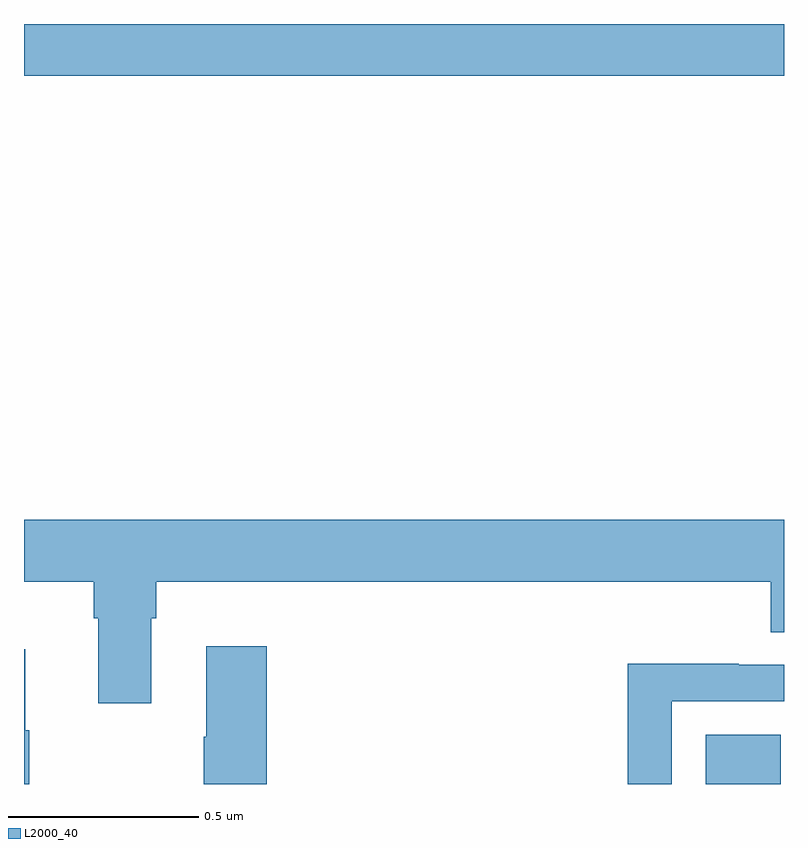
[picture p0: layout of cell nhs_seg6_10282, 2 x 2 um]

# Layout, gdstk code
import gdstk
lib = gdstk.Library(unit=1e-6, precision=1e-09)
def R(c, l, rs):  # rectangles x0, y0, x1, y1
    for r in rs: c.add(gdstk.rectangle(r[:2], r[2:], *l))
def P(c, l, *ps):  # polygons
    for p in ps: c.add(gdstk.Polygon(p, *l))
L2000_40 = (2000, 40)

nhs_seg6_10282 = lib.new_cell('nhs_seg6_10282')
R(nhs_seg6_10282, L2000_40, [(246.794,917.5,246.991,917.629), (245,919.364,247,919.5)])
P(nhs_seg6_10282, L2000_40, [(245.335,917.936),(245.348,917.936),(245.348,918.032),(246.965,918.032),(246.965,917.899),(247,917.899),(247,918.196),(245,918.196),(245,918.032),(245.183,918.032),(245.183,917.936),(245.195,917.936),(245.195,917.712),(245.335,917.712)],
  [(245.639,917.863),(245.48,917.863),(245.48,917.624),(245.473,917.624),(245.473,917.5),(245.639,917.5)],
  [(245.014,917.641),(245.003,917.641),(245.003,917.854),(245,917.854),(245,917.5),(245.014,917.5)],
  [(246.705,917.718),(247,917.718),(247,917.814),(246.881,917.814),(246.881,917.816),(246.589,917.816),(246.589,917.5),(246.705,917.5)])

lib.write_gds('nhs_seg6_10282.gds')
